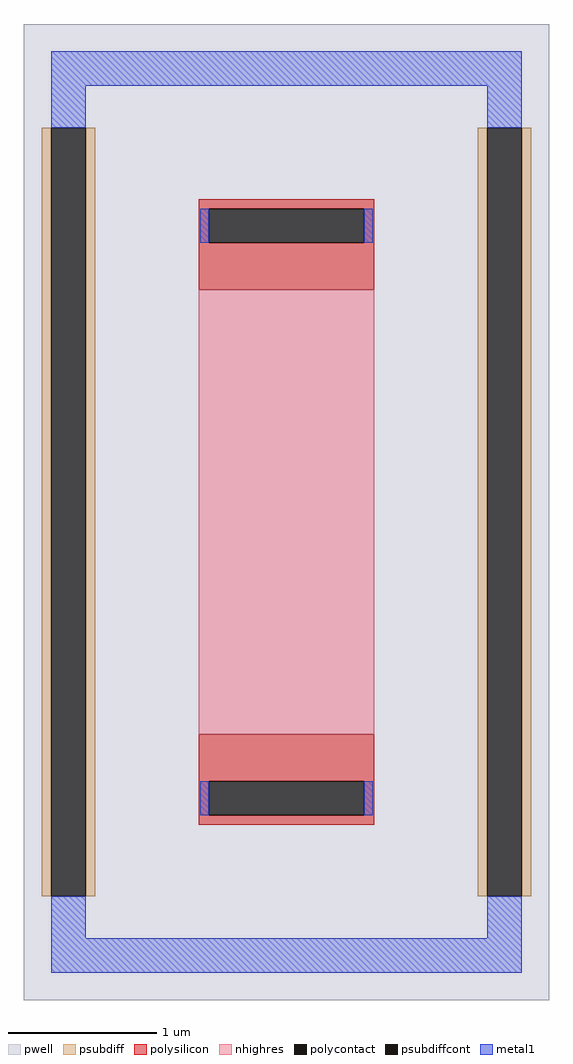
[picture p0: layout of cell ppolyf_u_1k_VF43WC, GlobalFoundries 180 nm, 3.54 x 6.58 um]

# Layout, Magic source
magic
tech gf180mcuD
magscale 1 10
<< pwell >>
rect -354 -658 354 658
<< psubdiff >>
rect -330 -518 -317 518
rect -271 -518 -258 518
rect 258 -518 271 518
rect 317 -518 330 518
<< psubdiffcont >>
rect -317 -518 -271 518
rect 271 -518 317 518
<< polysilicon >>
rect -118 409 118 422
rect -118 363 -105 409
rect 105 363 118 409
rect -118 300 118 363
rect -118 -363 118 -300
rect -118 -409 -105 -363
rect 105 -409 118 -363
rect -118 -422 118 -409
<< polycontact >>
rect -105 363 105 409
rect -105 -409 105 -363
<< nhighres >>
rect -118 -300 118 300
<< metal1 >>
rect -317 575 317 621
rect -317 518 -271 575
rect 271 518 317 575
rect -116 363 -105 409
rect 105 363 116 409
rect -116 -409 -105 -363
rect 105 -409 116 -363
rect -317 -575 -271 -518
rect 271 -575 317 -518
rect -317 -621 317 -575
<< properties >>
string FIXED_BBOX -294 -598 294 598
string gencell ppolyf_u_1k
string library gf180mcu
string parameters w 1.18 l 3.0 m 1 nx 1 wmin 1.000 lmin 1.000 class resistor rho 1000 val 2.542k dummy 0 dw 0.0 term 0.0 sterm 0.0 caplen 0.4 snake 0 glc 1 grc 1 gtc 0 gbc 0 roverlap 0 endcov 100 full_metal 1 compatible {ppolyf_u_1k ppolyf_u_1k_6p0}
<< end >>
